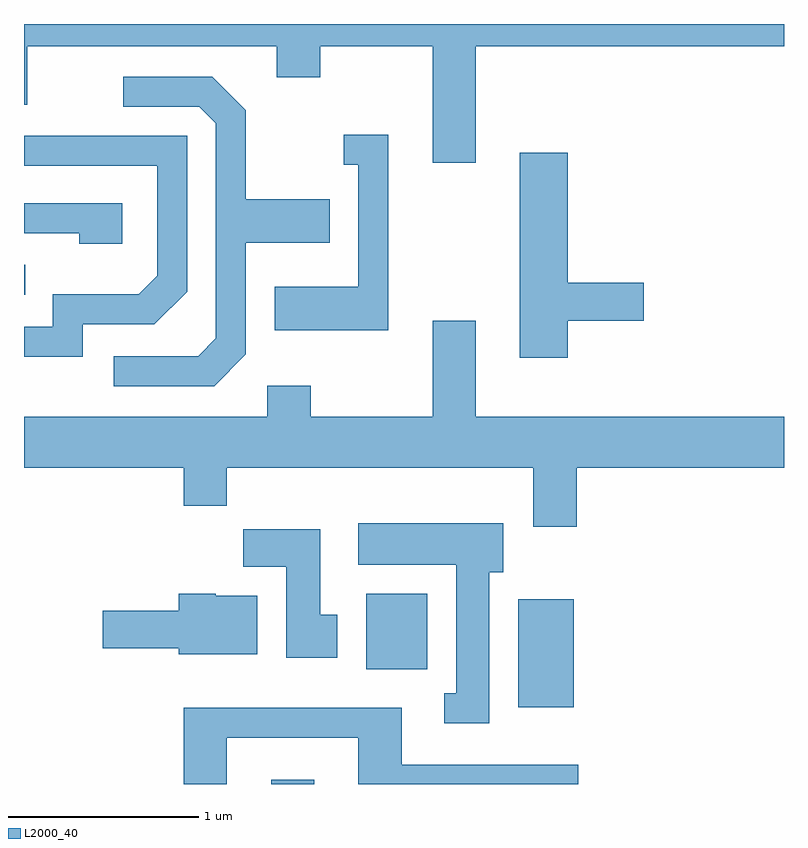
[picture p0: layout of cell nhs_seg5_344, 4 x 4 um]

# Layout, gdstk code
import gdstk
lib = gdstk.Library(unit=1e-6, precision=1e-09)
def R(c, l, rs):  # rectangles x0, y0, x1, y1
    for r in rs: c.add(gdstk.rectangle(r[:2], r[2:], *l))
def P(c, l, *ps):  # polygons
    for p in ps: c.add(gdstk.Polygon(p, *l))
L2000_40 = (2000, 40)

nhs_seg5_344 = lib.new_cell('nhs_seg5_344')
R(nhs_seg5_344, L2000_40, [(196.911,1404.072,197.139,1404.094), (198.211,1404.476,198.504,1405.044), (197.411,1404.676,197.734,1405.074), (195.611,1406.646,195.618,1406.804)])
P(nhs_seg5_344, L2000_40, [(197.989,1407.956),(199.611,1407.956),(199.611,1408.072),(195.611,1408.072),(195.611,1407.646),(195.629,1407.646),(195.629,1407.956),(196.941,1407.956),(196.941,1407.791),(197.169,1407.791),(197.169,1407.956),(197.761,1407.956),(197.761,1407.341),(197.989,1407.341)],
  [(196.779,1406.334),(196.779,1406.921),(197.219,1406.921),(197.219,1407.149),(196.779,1407.149),(196.779,1407.617),(196.602,1407.794),(196.133,1407.794),(196.133,1407.636),(196.534,1407.636),(196.621,1407.549),(196.621,1406.417),(196.529,1406.324),(196.083,1406.324),(196.083,1406.166),(196.612,1406.166)],
  [(197.529,1407.489),(197.293,1407.489),(197.293,1407.331),(197.371,1407.331),(197.371,1406.689),(196.931,1406.689),(196.931,1406.461),(197.529,1406.461)],
  [(195.919,1406.491),(196.297,1406.491),(196.469,1406.664),(196.469,1407.484),(195.611,1407.484),(195.611,1407.326),(196.311,1407.326),(196.311,1406.747),(196.214,1406.649),(195.761,1406.649),(195.761,1406.479),(195.611,1406.479),(195.611,1406.321),(195.919,1406.321)],
  [(198.474,1406.511),(198.874,1406.511),(198.874,1406.709),(198.474,1406.709),(198.474,1407.394),(198.221,1407.394),(198.221,1406.316),(198.474,1406.316)],
  [(196.129,1407.129),(195.611,1407.129),(195.611,1406.971),(195.901,1406.971),(195.901,1406.916),(196.129,1406.916)],
  [(198.519,1405.736),(199.611,1405.736),(199.611,1406.004),(197.989,1406.004),(197.989,1406.509),(197.761,1406.509),(197.761,1406.004),(197.119,1406.004),(197.119,1406.169),(196.891,1406.169),(196.891,1406.004),(195.611,1406.004),(195.611,1405.736),(196.451,1405.736),(196.451,1405.536),(196.679,1405.536),(196.679,1405.736),(198.291,1405.736),(198.291,1405.426),(198.519,1405.426)],
  [(198.059,1405.186),(198.134,1405.186),(198.134,1405.444),(197.371,1405.444),(197.371,1405.226),(197.886,1405.226),(197.886,1404.549),(197.823,1404.549),(197.823,1404.391),(198.059,1404.391)],
  [(197.259,1404.964),(197.169,1404.964),(197.169,1405.414),(196.766,1405.414),(196.766,1405.216),(196.991,1405.216),(196.991,1404.736),(197.259,1404.736)],
  [(196.839,1405.064),(196.62,1405.064),(196.62,1405.074),(196.426,1405.074),(196.426,1404.984),(196.026,1404.984),(196.026,1404.786),(196.426,1404.786),(196.426,1404.756),(196.839,1404.756)],
  [(196.679,1404.316),(197.371,1404.316),(197.371,1404.072),(198.528,1404.072),(198.528,1404.174),(197.599,1404.174),(197.599,1404.474),(196.451,1404.474),(196.451,1404.072),(196.679,1404.072)])

lib.write_gds('nhs_seg5_344.gds')
